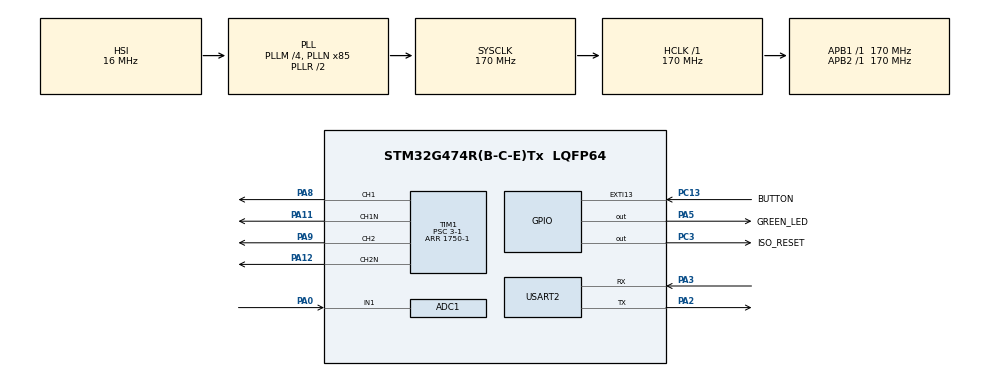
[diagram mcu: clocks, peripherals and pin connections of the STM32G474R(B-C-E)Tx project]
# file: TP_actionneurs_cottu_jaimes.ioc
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ADC1.Channel-0\#ChannelRegularConversion=ADC_CHANNEL_1
ADC1.NbrOfConversionFlag=1
ADC1.OffsetNumber-0\#ChannelRegularConversion=ADC_OFFSET_NONE
ADC1.Rank-0\#ChannelRegularConversion=1
ADC1.Resolution=ADC_RESOLUTION_8B
ADC1.SamplingTime-0\#ChannelRegularConversion=ADC_SAMPLETIME_2CYCLES_5
ADC1.master=1
Mcu.Family=STM32G4
Mcu.Name=STM32G474R(B-C-E)Tx
Mcu.Package=LQFP64
NVIC.EXTI15_10_IRQn=true\:0\:0\:false\:false\:true\:true\:true\:true
NVIC.PriorityGroup=NVIC_PRIORITYGROUP_4
NVIC.TIM2_IRQn=true\:0\:0\:false\:false\:true\:true\:true\:true
NVIC.USART2_IRQn=true\:0\:0\:false\:false\:true\:true\:true\:true
PA0.Mode=IN1-Single-Ended
PA0.Signal=ADC1_IN1
PA11.Mode=PWM Generation1 CH1 CH1N
PA11.Signal=TIM1_CH1N
PA12.Mode=PWM Generation2 CH2 CH2N
PA12.Signal=TIM1_CH2N
PA13.GPIO_Label=T_SWDIO
PA13.Mode=Serial_Wire
PA13.Signal=SYS_JTMS-SWDIO
PA14.GPIO_Label=T_SWCLK
PA14.Mode=Serial_Wire
PA14.Signal=SYS_JTCK-SWCLK
PA2.Mode=Asynchronous
PA2.Signal=USART2_TX
PA3.Mode=Asynchronous
PA3.Signal=USART2_RX
PA5.GPIO_Label=GREEN_LED
PA5.Signal=GPIO_Output
PA8.Signal=S_TIM1_CH1
PA9.Signal=S_TIM1_CH2
PC13.GPIO_Label=BUTTON
PC13.Signal=GPXTI13
PC14-OSC32_IN.Mode=LSE-External-Oscillator
PC14-OSC32_IN.Signal=RCC_OSC32_IN
PC15-OSC32_OUT.Mode=LSE-External-Oscillator
PC15-OSC32_OUT.Signal=RCC_OSC32_OUT
PC3.GPIO_Label=ISO_RESET
PC3.Signal=GPIO_Output
PF0-OSC_IN.Mode=HSE-External-Oscillator
PF0-OSC_IN.Signal=RCC_OSC_IN
PF1-OSC_OUT.Mode=HSE-External-Oscillator
PF1-OSC_OUT.Signal=RCC_OSC_OUT
ProjectManager.HeapSize=0x200
ProjectManager.StackSize=0x400
ProjectManager.TargetToolchain=STM32CubeIDE
RCC.ADC12Freq_Value=170000000
RCC.ADC345Freq_Value=170000000
RCC.AHBFreq_Value=170000000
RCC.APB1Freq_Value=170000000
RCC.APB1TimFreq_Value=170000000
RCC.APB2Freq_Value=170000000
RCC.APB2TimFreq_Value=170000000
RCC.CortexFreq_Value=170000000
RCC.EXTERNAL_CLOCK_VALUE=12288000
RCC.HCLKFreq_Value=170000000
RCC.HSE_VALUE=24000000
RCC.HSI48_VALUE=48000000
RCC.HSI_VALUE=16000000
RCC.PLLM=RCC_PLLM_DIV4
RCC.PLLN=85
RCC.RTCClockSelection=RCC_RTCCLKSOURCE_LSE
RCC.SYSCLKFreq_VALUE=170000000
RCC.SYSCLKSource=RCC_SYSCLKSOURCE_PLLCLK
RCC.USBFreq_Value=170000000
RCC.VCOOutputFreq_Value=340000000
SH.S_TIM1_CH1.0=TIM1_CH1,PWM Generation1 CH1 CH1N
SH.S_TIM1_CH2.0=TIM1_CH2,PWM Generation2 CH2 CH2N
TIM1.AutomaticOutput=TIM_AUTOMATICOUTPUT_ENABLE
TIM1.BreakState=TIM_BREAK_DISABLE
TIM1.Channel-PWM\ Generation1\ CH1\ CH1N=TIM_CHANNEL_1
TIM1.Channel-PWM\ Generation2\ CH2\ CH2N=TIM_CHANNEL_2
TIM1.ClockDivision=TIM_CLOCKDIVISION_DIV1
TIM1.CounterMode=TIM_COUNTERMODE_CENTERALIGNED1
TIM1.DeadTime=200
TIM1.PeriodNoDither=1750-1
TIM1.Prescaler=3-1
TIM1.PulseNoDither_1=1050
TIM1.PulseNoDither_2=700
TIM2.PeriodNoDither=2
TIM2.Prescaler=170
USART2.VirtualMode-Asynchronous=VM_ASYNC
VP_SYS_VS_DBSignals.Mode=DisableDeadBatterySignals
VP_TIM2_VS_ClockSourceINT.Mode=Internal
board=NUCLEO-G474RE

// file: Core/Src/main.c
/* USER CODE BEGIN Header */
/**
 ******************************************************************************
 * @file           : main.c
 * @brief          : Main program body
 ******************************************************************************
 * @attention
 *
 *
 * Copyright (c) 2022 STMicroelectronics.
 * All rights reserved.
 *
 * This software is licensed under terms that can be found in the LICENSE file
 * in the root directory of this software component.
 * If no LICENSE file comes with this software, it is provided AS-IS.
 *
 * Modifications : Baptiste Cottu, Diego Jaimes
 ******************************************************************************
 */
/* USER CODE END Header */
#include "main.h"

/* USER CODE BEGIN Includes */
#include <string.h>
#include <stdio.h>
#include <stdlib.h>
#include "motor_cmd.h"
/* USER CODE END Includes */

/* USER CODE BEGIN PD */

#define UART_TX_BUFFER_SIZE 64			//!< Taille du buffer de transmission UART
#define UART_RX_BUFFER_SIZE 1			//!< Taille du buffer de reception (traité sur interruption donc caractère par caractère
#define CMD_BUFFER_SIZE 64				//!< Taille du buffer de commandes

// LF = line feed, saut de ligne
#define ASCII_LF 0x0A					//!< Code ASCII du saut de ligne

// CR = carriage return, retour chariot
#define ASCII_CR 0x0D					//!< Code ASCII du retour chariot

// DEL = delete
#define ASCII_DEL 0x7F					//!< Code ASCII du caractère DEL
#define MAX_ARGS 9

/* USER CODE END PD */

ADC_HandleTypeDef hadc1;

TIM_HandleTypeDef htim1;
TIM_HandleTypeDef htim2;

UART_HandleTypeDef huart2;

/* USER CODE BEGIN PV */
uint8_t prompt[]="user@Nucleo-STM32G474>>";				//!< Mise en page de l'affichage console
uint8_t started[]=										//!< Message de bienvenue
		"\r\n*-----------------------------*"
		"\r\n| Welcome on Nucleo-STM32G474 |"
		"\r\n*-----------------------------*"
		"\r\n";
uint8_t newline[]="\r\n";								//!< Mise en page de l'affichage console
uint8_t cmdNotFound[]="Command not found\r\n\n";		//!< Retour d'erreur
const uint8_t help[]="\r\n Help : Liste des commandes"						//!< Liste des commandes disponibles
		"\r\n pinout : Affiche toutes les broches connectées et leur fonction"
		"\r\n start : Allume l'étage de puissance du moteur"
		"\r\n stop : Eteind l'étage de puissance du moteur"
		"\r\n Toute autre commande renverra un message d'erreur\r\n\n";
const uint8_t pinout[]=" \r\n PC13 : User button"		//!< Liste des pin utilisées pour le montage
		"\r\n PA5 : User led"
		"\r\n PC3 : ISO_reset\r\n\n";
const uint8_t start[]="Power ON\r\n\n";					//!< Retour d'information utilisateur
const uint8_t stop[]="Power OFF\r\n\n";					//!< Retour d'information utilisateur
const uint8_t speed_msg[]="speed set_Ok\r\n\n";			//!< Retour d'information utilisateur
const uint8_t current_msg[]="Current to be meseared\r\n\n";
uint32_t uartRxReceived;								//!< Flag de réception d'un caractère
uint8_t uartRxBuffer[UART_RX_BUFFER_SIZE];				//!< Définition du buffer de reception
uint8_t uartTxBuffer[UART_TX_BUFFER_SIZE];				//!< Définition du buffer de transmission
/* USER CODE END PV */

void SystemClock_Config(void);
static void MX_GPIO_Init(void);
static void MX_TIM1_Init(void);
static void MX_USART2_UART_Init(void);
static void MX_TIM2_Init(void);
static void MX_ADC1_Init(void);

int main(void)
{
	/* USER CODE BEGIN 1 */
	char	 	cmdBuffer[CMD_BUFFER_SIZE];		//!< Contient la commande reconstruite apres chaque interruption UART
	int 		idx_cmd;
	char* 		argv[MAX_ARGS];
	int		 	argc = 0;
	char*		token;
	int 		newCmdReady = 0;
	/* USER CODE END 1 */

	/* MCU Configuration--------------------------------------------------------*/

	/* Reset of all peripherals, Initializes the Flash interface and the Systick. */
	HAL_Init();

	/* Configure the system clock */
	SystemClock_Config();

	/* Initialize all configured peripherals */
	MX_GPIO_Init();
	MX_TIM1_Init();
	MX_USART2_UART_Init();
	MX_TIM2_Init();
	MX_ADC1_Init();
	/* USER CODE BEGIN 2 */

	memset(argv,(int)NULL,MAX_ARGS*sizeof(char*));
	memset(cmdBuffer,(int)NULL,CMD_BUFFER_SIZE*sizeof(char));
	memset(uartRxBuffer,(int)NULL,UART_RX_BUFFER_SIZE*sizeof(char));
	memset(uartTxBuffer,(int)NULL,UART_TX_BUFFER_SIZE*sizeof(char));

	HAL_UART_Receive_IT(&huart2, uartRxBuffer, UART_RX_BUFFER_SIZE);
	HAL_Delay(10);
	HAL_UART_Transmit(&huart2, started, sizeof(started), HAL_MAX_DELAY);
	HAL_UART_Transmit(&huart2, prompt, sizeof(prompt), HAL_MAX_DELAY);

	//valeur de rapport cyclique initial
	TIM1->CCR1=850;
	TIM1->CCR2=SPEED_MAX-850;

	/* USER CODE END 2 */

	/* Infinite loop */
	/* USER CODE BEGIN WHILE */
	while (1)
	{
		// uartRxReceived is set to 1 when a new character is received on uart 1
		if(uartRxReceived){
			switch(uartRxBuffer[0]){
			// Nouvelle ligne, instruction à traiter
			case ASCII_CR:
				HAL_UART_Transmit(&huart2, newline, sizeof(newline), HAL_MAX_DELAY);
				cmdBuffer[idx_cmd] = '\0';
				argc = 0;
				token = strtok(cmdBuffer, " ");
				while(token!=NULL){
					argv[argc++] = token;
					token = strtok(NULL, " ");
				}

				idx_cmd = 0;
				newCmdReady = 1;
				break;
				// Suppression du dernier caractère
			case ASCII_DEL:
				cmdBuffer[idx_cmd--] = '\0';
				HAL_UART_Transmit(&huart2, uartRxBuffer, UART_RX_BUFFER_SIZE, HAL_MAX_DELAY);
				break;
				// Nouveau caractère
			default:
				cmdBuffer[idx_cmd++] = uartRxBuffer[0];
				HAL_UART_Transmit(&huart2, uartRxBuffer, UART_RX_BUFFER_SIZE, HAL_MAX_DELAY);
			}
			uartRxReceived = 0;
		}

		if(newCmdReady){
			if(strcmp(argv[0],"set")==0){
				if(strcmp(argv[1],"PA5")==0){
					HAL_GPIO_WritePin(GREEN_LED_GPIO_Port, GREEN_LED_Pin, atoi(argv[2]));
					sprintf(uartTxBuffer,"Switch on/off led : %d\r\n",atoi(argv[2]));
					HAL_UART_Transmit(&huart2, uartTxBuffer, 32, HAL_MAX_DELAY);
				}
				else{
					HAL_UART_Transmit(&huart2, cmdNotFound, sizeof(cmdNotFound), HAL_MAX_DELAY);
				}
			}
			else if(strcmp(argv[0],"get")==0)
			{
				HAL_UART_Transmit(&huart2, cmdNotFound, sizeof(cmdNotFound), HAL_MAX_DELAY);
			}
			else if(strcmp(argv[0],"pinout")==0)
			{
				HAL_UART_Transmit(&huart2, pinout, sizeof(pinout), HAL_MAX_DELAY);
			}
			else if(strcmp(argv[0],"start")==0)
			{
				HAL_UART_Transmit(&huart2, start, sizeof(start), HAL_MAX_DELAY);
				motor_start();
			}
			else if(strcmp(argv[0],"stop")==0)
			{
				HAL_UART_Transmit(&huart2, stop, sizeof(stop), HAL_MAX_DELAY);
				motor_stop_PWM();
			}
			else if(strcmp(argv[0],"help")==0)
			{
				HAL_UART_Transmit(&huart2, help, sizeof(help), HAL_MAX_DELAY);
			}
			else if(strcmp(argv[0],"speed")==0)
			{
				HAL_UART_Transmit(&huart2,speed_msg, sizeof(speed_msg), HAL_MAX_DELAY);
				int speed;
				speed=atoi(argv[1]);
				motor_set_speed(speed);
			}
			else if(strcmp(argv[0],"current")==0){
				HAL_UART_Transmit(&huart2,current_msg, sizeof(current_msg), HAL_MAX_DELAY);
				motor_get_current();
			}
			else{
				HAL_UART_Transmit(&huart2, cmdNotFound, sizeof(cmdNotFound), HAL_MAX_DELAY);
			}
			HAL_UART_Transmit(&huart2, prompt, sizeof(prompt), HAL_MAX_DELAY);
			newCmdReady = 0;
		}

		/* USER CODE END WHILE */

	}
}

void SystemClock_Config(void)
{
	RCC_OscInitTypeDef RCC_OscInitStruct = {0};
	RCC_ClkInitTypeDef RCC_ClkInitStruct = {0};

	/** Configure the main internal regulator output voltage
	 */
	HAL_PWREx_ControlVoltageScaling(PWR_REGULATOR_VOLTAGE_SCALE1_BOOST);

	/** Initializes the RCC Oscillators according to the specified parameters
	 * in the RCC_OscInitTypeDef structure.
	 */
	RCC_OscInitStruct.OscillatorType = RCC_OSCILLATORTYPE_HSI;
	RCC_OscInitStruct.HSIState = RCC_HSI_ON;
	RCC_OscInitStruct.HSICalibrationValue = RCC_HSICALIBRATION_DEFAULT;
	RCC_OscInitStruct.PLL.PLLState = RCC_PLL_ON;
	RCC_OscInitStruct.PLL.PLLSource = RCC_PLLSOURCE_HSI;
	RCC_OscInitStruct.PLL.PLLM = RCC_PLLM_DIV4;
	RCC_OscInitStruct.PLL.PLLN = 85;
	RCC_OscInitStruct.PLL.PLLP = RCC_PLLP_DIV2;
	RCC_OscInitStruct.PLL.PLLQ = RCC_PLLQ_DIV2;
	RCC_OscInitStruct.PLL.PLLR = RCC_PLLR_DIV2;
	if (HAL_RCC_OscConfig(&RCC_OscInitStruct) != HAL_OK)
	{
		Error_Handler();
	}

	/** Initializes the CPU, AHB and APB buses clocks
	 */
	RCC_ClkInitStruct.ClockType = RCC_CLOCKTYPE_HCLK|RCC_CLOCKTYPE_SYSCLK
			|RCC_CLOCKTYPE_PCLK1|RCC_CLOCKTYPE_PCLK2;
	RCC_ClkInitStruct.SYSCLKSource = RCC_SYSCLKSOURCE_PLLCLK;
	RCC_ClkInitStruct.AHBCLKDivider = RCC_SYSCLK_DIV1;
	RCC_ClkInitStruct.APB1CLKDivider = RCC_HCLK_DIV1;
	RCC_ClkInitStruct.APB2CLKDivider = RCC_HCLK_DIV1;

	if (HAL_RCC_ClockConfig(&RCC_ClkInitStruct, FLASH_LATENCY_4) != HAL_OK)
	{
		Error_Handler();
	}
}

static void MX_ADC1_Init(void)
{

	ADC_MultiModeTypeDef multimode = {0};
	ADC_ChannelConfTypeDef sConfig = {0};

	/** Common config
	 */
	hadc1.Instance = ADC1;
	hadc1.Init.ClockPrescaler = ADC_CLOCK_SYNC_PCLK_DIV4;
	hadc1.Init.Resolution = ADC_RESOLUTION_8B;
	hadc1.Init.DataAlign = ADC_DATAALIGN_RIGHT;
	hadc1.Init.GainCompensation = 0;
	hadc1.Init.ScanConvMode = ADC_SCAN_DISABLE;
	hadc1.Init.EOCSelection = ADC_EOC_SINGLE_CONV;
	hadc1.Init.LowPowerAutoWait = DISABLE;
	hadc1.Init.ContinuousConvMode = DISABLE;
	hadc1.Init.NbrOfConversion = 1;
	hadc1.Init.DiscontinuousConvMode = DISABLE;
	hadc1.Init.ExternalTrigConv = ADC_SOFTWARE_START;
	hadc1.Init.ExternalTrigConvEdge = ADC_EXTERNALTRIGCONVEDGE_NONE;
	hadc1.Init.DMAContinuousRequests = DISABLE;
	hadc1.Init.Overrun = ADC_OVR_DATA_PRESERVED;
	hadc1.Init.OversamplingMode = DISABLE;
	if (HAL_ADC_Init(&hadc1) != HAL_OK)
	{
		Error_Handler();
	}

	/** Configure the ADC multi-mode
	 */
	multimode.Mode = ADC_MODE_INDEPENDENT;
	if (HAL_ADCEx_MultiModeConfigChannel(&hadc1, &multimode) != HAL_OK)
	{
		Error_Handler();
	}

	/** Configure Regular Channel
	 */
	sConfig.Channel = ADC_CHANNEL_1;
	sConfig.Rank = ADC_REGULAR_RANK_1;
	sConfig.SamplingTime = ADC_SAMPLETIME_2CYCLES_5;
	sConfig.SingleDiff = ADC_SINGLE_ENDED;
	sConfig.OffsetNumber = ADC_OFFSET_NONE;
	sConfig.Offset = 0;
	if (HAL_ADC_ConfigChannel(&hadc1, &sConfig) != HAL_OK)
	{
		Error_Handler();
	}

}

static void MX_TIM1_Init(void)
{

	TIM_MasterConfigTypeDef sMasterConfig = {0};
	TIM_OC_InitTypeDef sConfigOC = {0};
	TIM_BreakDeadTimeConfigTypeDef sBreakDeadTimeConfig = {0};

	htim1.Instance = TIM1;
	htim1.Init.Prescaler = 3-1;
	htim1.Init.CounterMode = TIM_COUNTERMODE_CENTERALIGNED1;
	htim1.Init.Period = 1749;
	htim1.Init.ClockDivision = TIM_CLOCKDIVISION_DIV1;
	htim1.Init.RepetitionCounter = 0;
	htim1.Init.AutoReloadPreload = TIM_AUTORELOAD_PRELOAD_DISABLE;
	if (HAL_TIM_PWM_Init(&htim1) != HAL_OK)
	{
		Error_Handler();
	}
	sMasterConfig.MasterOutputTrigger = TIM_TRGO_RESET;
	sMasterConfig.MasterOutputTrigger2 = TIM_TRGO2_RESET;
	sMasterConfig.MasterSlaveMode = TIM_MASTERSLAVEMODE_DISABLE;
	if (HAL_TIMEx_MasterConfigSynchronization(&htim1, &sMasterConfig) != HAL_OK)
	{
		Error_Handler();
	}
	sConfigOC.OCMode = TIM_OCMODE_PWM1;
	sConfigOC.Pulse = 1050;
	sConfigOC.OCPolarity = TIM_OCPOLARITY_HIGH;
	sConfigOC.OCNPolarity = TIM_OCNPOLARITY_HIGH;
	sConfigOC.OCFastMode = TIM_OCFAST_DISABLE;
	sConfigOC.OCIdleState = TIM_OCIDLESTATE_RESET;
	sConfigOC.OCNIdleState = TIM_OCNIDLESTATE_RESET;
	if (HAL_TIM_PWM_ConfigChannel(&htim1, &sConfigOC, TIM_CHANNEL_1) != HAL_OK)
	{
		Error_Handler();
	}
	sConfigOC.Pulse = 700;
	if (HAL_TIM_PWM_ConfigChannel(&htim1, &sConfigOC, TIM_CHANNEL_2) != HAL_OK)
	{
		Error_Handler();
	}
	sBreakDeadTimeConfig.OffStateRunMode = TIM_OSSR_DISABLE;
	sBreakDeadTimeConfig.OffStateIDLEMode = TIM_OSSI_DISABLE;
	sBreakDeadTimeConfig.LockLevel = TIM_LOCKLEVEL_OFF;
	sBreakDeadTimeConfig.DeadTime = 200;
	sBreakDeadTimeConfig.BreakState = TIM_BREAK_DISABLE;
	sBreakDeadTimeConfig.BreakPolarity = TIM_BREAKPOLARITY_HIGH;
	sBreakDeadTimeConfig.BreakFilter = 0;
	sBreakDeadTimeConfig.BreakAFMode = TIM_BREAK_AFMODE_INPUT;
	sBreakDeadTimeConfig.Break2State = TIM_BREAK2_DISABLE;
	sBreakDeadTimeConfig.Break2Polarity = TIM_BREAK2POLARITY_HIGH;
	sBreakDeadTimeConfig.Break2Filter = 0;
	sBreakDeadTimeConfig.Break2AFMode = TIM_BREAK_AFMODE_INPUT;
	sBreakDeadTimeConfig.AutomaticOutput = TIM_AUTOMATICOUTPUT_ENABLE;
	if (HAL_TIMEx_ConfigBreakDeadTime(&htim1, &sBreakDeadTimeConfig) != HAL_OK)
	{
		Error_Handler();
	}
	HAL_TIM_MspPostInit(&htim1);

}

static void MX_TIM2_Init(void)
{

	TIM_ClockConfigTypeDef sClockSourceConfig = {0};
	TIM_MasterConfigTypeDef sMasterConfig = {0};

	htim2.Instance = TIM2;
	htim2.Init.Prescaler = 170;
	htim2.Init.CounterMode = TIM_COUNTERMODE_UP;
	htim2.Init.Period = 2;
	htim2.Init.ClockDivision = TIM_CLOCKDIVISION_DIV1;
	htim2.Init.AutoReloadPreload = TIM_AUTORELOAD_PRELOAD_DISABLE;
	if (HAL_TIM_Base_Init(&htim2) != HAL_OK)
	{
		Error_Handler();
	}
	sClockSourceConfig.ClockSource = TIM_CLOCKSOURCE_INTERNAL;
	if (HAL_TIM_ConfigClockSource(&htim2, &sClockSourceConfig) != HAL_OK)
	{
		Error_Handler();
	}
	sMasterConfig.MasterOutputTrigger = TIM_TRGO_RESET;
	sMasterConfig.MasterSlaveMode = TIM_MASTERSLAVEMODE_DISABLE;
	if (HAL_TIMEx_MasterConfigSynchronization(&htim2, &sMasterConfig) != HAL_OK)
	{
		Error_Handler();
	}

}

static void MX_USART2_UART_Init(void)
{

	huart2.Instance = USART2;
	huart2.Init.BaudRate = 115200;
	huart2.Init.WordLength = UART_WORDLENGTH_8B;
	huart2.Init.StopBits = UART_STOPBITS_1;
	huart2.Init.Parity = UART_PARITY_NONE;
	huart2.Init.Mode = UART_MODE_TX_RX;
	huart2.Init.HwFlowCtl = UART_HWCONTROL_NONE;
	huart2.Init.OverSampling = UART_OVERSAMPLING_16;
	huart2.Init.OneBitSampling = UART_ONE_BIT_SAMPLE_DISABLE;
	huart2.Init.ClockPrescaler = UART_PRESCALER_DIV1;
	huart2.AdvancedInit.AdvFeatureInit = UART_ADVFEATURE_NO_INIT;
	if (HAL_UART_Init(&huart2) != HAL_OK)
	{
		Error_Handler();
	}
	if (HAL_UARTEx_SetTxFifoThreshold(&huart2, UART_TXFIFO_THRESHOLD_1_8) != HAL_OK)
	{
		Error_Handler();
	}
	if (HAL_UARTEx_SetRxFifoThreshold(&huart2, UART_RXFIFO_THRESHOLD_1_8) != HAL_OK)
	{
		Error_Handler();
	}
	if (HAL_UARTEx_DisableFifoMode(&huart2) != HAL_OK)
	{
		Error_Handler();
	}

}

static void MX_GPIO_Init(void)
{
	GPIO_InitTypeDef GPIO_InitStruct = {0};

	/* GPIO Ports Clock Enable */
	__HAL_RCC_GPIOC_CLK_ENABLE();
	__HAL_RCC_GPIOF_CLK_ENABLE();
	__HAL_RCC_GPIOA_CLK_ENABLE();

	/*Configure GPIO pin Output Level */
	HAL_GPIO_WritePin(ISO_RESET_GPIO_Port, ISO_RESET_Pin, GPIO_PIN_RESET);

	/*Configure GPIO pin Output Level */
	HAL_GPIO_WritePin(GREEN_LED_GPIO_Port, GREEN_LED_Pin, GPIO_PIN_RESET);

	/*Configure GPIO pin : BUTTON_Pin */
	GPIO_InitStruct.Pin = BUTTON_Pin;
	GPIO_InitStruct.Mode = GPIO_MODE_IT_RISING;
	GPIO_InitStruct.Pull = GPIO_NOPULL;
	HAL_GPIO_Init(BUTTON_GPIO_Port, &GPIO_InitStruct);

	/*Configure GPIO pin : ISO_RESET_Pin */
	GPIO_InitStruct.Pin = ISO_RESET_Pin;
	GPIO_InitStruct.Mode = GPIO_MODE_OUTPUT_PP;
	GPIO_InitStruct.Pull = GPIO_NOPULL;
	GPIO_InitStruct.Speed = GPIO_SPEED_FREQ_LOW;
	HAL_GPIO_Init(ISO_RESET_GPIO_Port, &GPIO_InitStruct);

	/*Configure GPIO pin : GREEN_LED_Pin */
	GPIO_InitStruct.Pin = GREEN_LED_Pin;
	GPIO_InitStruct.Mode = GPIO_MODE_OUTPUT_PP;
	GPIO_InitStruct.Pull = GPIO_NOPULL;
	GPIO_InitStruct.Speed = GPIO_SPEED_FREQ_LOW;
	HAL_GPIO_Init(GREEN_LED_GPIO_Port, &GPIO_InitStruct);

	/* EXTI interrupt init*/
	HAL_NVIC_SetPriority(EXTI15_10_IRQn, 0, 0);
	HAL_NVIC_EnableIRQ(EXTI15_10_IRQn);

}

/* USER CODE BEGIN 4 */

/**
 * \fn void HAL_UART_RxCpltCallback (UART_HandleTypeDef * huart)
 * \brief Gestion des interruptions des périphériques UART:
 * Met le flag de réception a 1 et met le caractère reçu dans uartRxBuffer
 */
void HAL_UART_RxCpltCallback (UART_HandleTypeDef * huart){
	uartRxReceived = 1;
	HAL_UART_Receive_IT(&huart2, uartRxBuffer, UART_RX_BUFFER_SIZE);
}

void HAL_GPIO_EXTI_Callback(uint16_t GPIO_Pin){
	if(GPIO_Pin==BUTTON_Pin){
		motor_start();
	}
}

int __io_putchar(int ch){
	HAL_UART_Transmit(&huart2, (uint8_t *)&ch, 1, 0xFFFF);
	return ch;
}

/* USER CODE END 4 */

void Error_Handler(void)
{
	__disable_irq();
	while (1)
	{
	}
}
